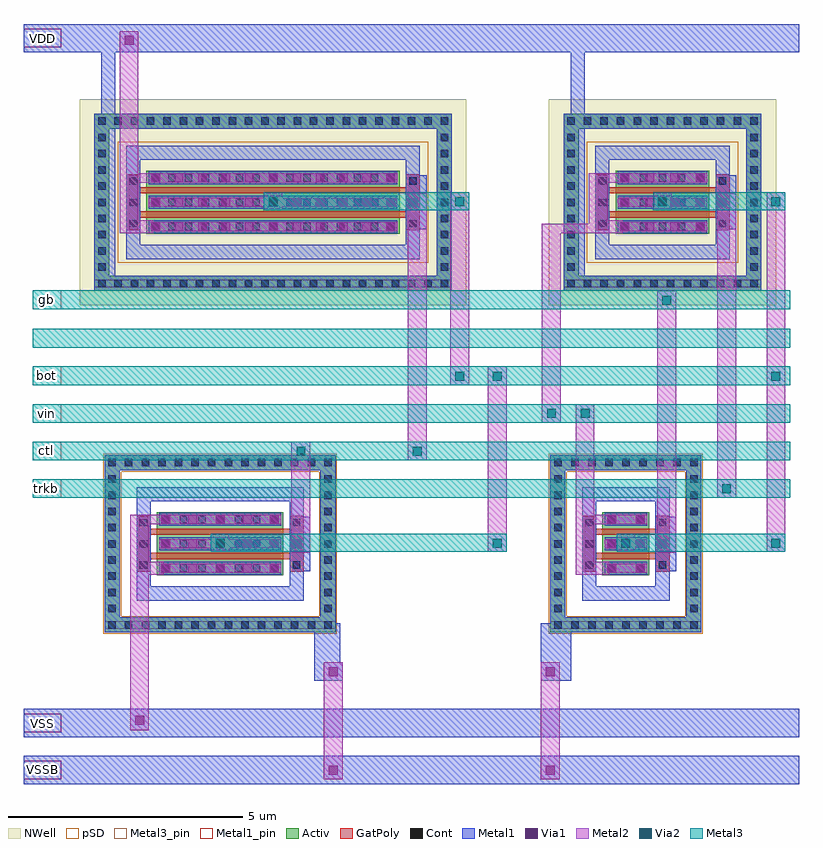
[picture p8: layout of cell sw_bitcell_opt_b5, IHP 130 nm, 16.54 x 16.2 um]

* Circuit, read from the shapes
.subckt sw_bitcell_opt_b5 VDD VSS VSSB bot ctl gb trkb vin
XM1 bot ctl VSS VSSB sg13_lv_nmos w=2.7u l=0.13u m=2
XM2 bot gb vin VSSB sg13_lv_nmos w=1u l=0.13u m=2
XM3 bot ctl VDD VDD sg13_lv_pmos w=5.4u l=0.13u m=2
XM4 bot trkb vin VDD sg13_lv_pmos w=2u l=0.13u m=2
.ends

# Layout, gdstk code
import gdstk
lib = gdstk.Library(unit=1e-6, precision=1e-09)
def R(c, l, rs):  # rectangles x0, y0, x1, y1
    for r in rs: c.add(gdstk.rectangle(r[:2], r[2:], *l))
def A(c, l, x, y, w, h, nx, ny, dx, dy):  # array of equal rectangles
    R(c, l, [(x+i*dx, y+j*dy, x+i*dx+w, y+j*dy+h) for i in range(nx) for j in range(ny)])
def P(c, l, *ps):  # polygons
    for p in ps: c.add(gdstk.Polygon(p, *l))
Activ = (1, 0)
GatPoly = (5, 0)
Cont = (6, 0)
Metal1 = (8, 0)
Metal1_pin = (8, 2)
Metal2 = (10, 0)
pSD = (14, 0)
Via1 = (19, 0)
Via2 = (29, 0)
Metal3 = (30, 0)
Metal3_pin = (30, 2)
NWell = (31, 0)

rfnmos_11 = lib.new_cell('rfnmos$11')
R(rfnmos_11, Activ, [(1.14,1.245,3.84,2.595)])
P(rfnmos_11, Activ, [(0.03,0.03),(0.03,3.49),(0.35,3.49),(0.35,0.35),(4.63,0.35),(4.63,3.49),(0.03,3.49),(0.03,3.81),(4.95,3.81),(4.95,0.03)])
R(rfnmos_11, GatPoly, [(0.71,1.32,1.01,2.52), (3.97,1.32,4.27,2.52), (1.01,1.595,3.97,1.725), (1.01,2.115,3.97,2.245)])
A(rfnmos_11, Cont, 0.46, 0.11, 0.16, 0.16, 4, 2, 0.355, 3.46)
A(rfnmos_11, Cont, 1.875, 0.11, 0.16, 0.16, 4, 2, 0.355, 3.46)
A(rfnmos_11, Cont, 3.29, 0.11, 0.16, 0.16, 5, 2, 0.355, 3.46)
A(rfnmos_11, Cont, 0.11, 0.46, 0.16, 0.16, 1, 9, 0, 0.345)
A(rfnmos_11, Cont, 4.71, 0.46, 0.16, 0.16, 1, 9, 0, 0.345)
A(rfnmos_11, Cont, 1.24, 1.32, 0.16, 0.16, 7, 3, 0.39, 0.52)
A(rfnmos_11, Cont, 0.78, 1.39, 0.16, 0.16, 1, 3, 0, 0.45)
A(rfnmos_11, Cont, 4.04, 1.39, 0.16, 0.16, 1, 3, 0, 0.45)
R(rfnmos_11, Cont, [(0.11,0.11,0.27,0.27), (0.11,3.57,0.27,3.73)])
A(rfnmos_11, Metal1, 1.19, 1.26, 2.6, 0.28, 1, 3, 0, 0.52)
R(rfnmos_11, Metal1, [(0.03,0.03,4.95,0.35), (0.03,0.35,0.35,3.49), (4.63,0.35,4.95,3.49), (0.76,1.34,0.96,2.5), (4.02,1.34,4.22,2.5), (0.03,3.49,4.95,3.81)])
P(rfnmos_11, Metal1, [(0.71,0.71),(0.71,2.83),(1.01,2.83),(1.01,1.01),(3.97,1.01),(3.97,2.83),(0.71,2.83),(0.71,3.13),(4.27,3.13),(4.27,0.71)])
R(rfnmos_11, Metal1_pin, [(0.03,0.11,4.95,0.27), (0.03,0.11,4.95,0.27), (1.19,1.26,3.79,1.54), (1.19,1.26,3.79,1.54), (0.76,1.34,0.96,2.5), (0.76,1.34,0.96,2.5), (1.19,1.78,3.79,2.06), (1.19,1.78,3.79,2.06)])
A(rfnmos_11, Metal2, 1.19, 1.3, 2.6, 0.2, 1, 3, 0, 0.52)
P(rfnmos_11, pSD, [(0,0),(0,3.46),(0.38,3.46),(0.38,0.38),(4.6,0.38),(4.6,3.46),(0,3.46),(0,3.84),(4.98,3.84),(4.98,0)])
A(rfnmos_11, Via1, 1.24, 1.305, 0.19, 0.19, 1, 3, 0, 0.52)
A(rfnmos_11, Via1, 1.815, 1.305, 0.19, 0.19, 1, 3, 0, 0.52)
A(rfnmos_11, Via1, 2.395, 1.305, 0.19, 0.19, 1, 3, 0, 0.52)
A(rfnmos_11, Via1, 2.97, 1.305, 0.19, 0.19, 1, 3, 0, 0.52)
A(rfnmos_11, Via1, 3.55, 1.305, 0.19, 0.19, 1, 3, 0, 0.52)
rfnmos_11.add(gdstk.Label('S', (2.49,1.42), layer=63, texttype=0))
rfnmos_11.add(gdstk.Label('D', (2.49,1.94), layer=63, texttype=0))
rfnmos_11.add(gdstk.Label('G', (0.86,1.92), layer=63, texttype=0))
rfnmos_11.add(gdstk.Label('TIE', (2.49,0.19), layer=63, texttype=0))
rfnmos_11.add(gdstk.Label('rfnmos', (2.49,3.65), layer=63, texttype=0))

rfpmos_10 = lib.new_cell('rfpmos$10')
R(rfpmos_10, Activ, [(1.42,1.525,6.82,2.875)])
P(rfpmos_10, Activ, [(0.31,0.31),(0.31,3.77),(0.63,3.77),(0.63,0.63),(7.61,0.63),(7.61,3.77),(0.31,3.77),(0.31,4.09),(7.93,4.09),(7.93,0.31)])
R(rfpmos_10, GatPoly, [(0.99,1.6,1.29,2.8), (6.95,1.6,7.25,2.8), (1.29,1.875,6.95,2.005), (1.29,2.395,6.95,2.525)])
A(rfpmos_10, Cont, 6.99, 0.39, 0.16, 0.16, 3, 2, 0.35, 3.46)
A(rfpmos_10, Cont, 0.39, 0.74, 0.16, 0.16, 1, 9, 0, 0.345)
A(rfpmos_10, Cont, 7.69, 0.74, 0.16, 0.16, 1, 9, 0, 0.345)
A(rfpmos_10, Cont, 1.52, 1.6, 0.16, 0.16, 15, 3, 0.36, 0.52)
A(rfpmos_10, Cont, 1.06, 1.67, 0.16, 0.16, 1, 3, 0, 0.45)
A(rfpmos_10, Cont, 7.02, 1.67, 0.16, 0.16, 1, 3, 0, 0.45)
R(rfpmos_10, Cont, [(0.39,0.39,0.55,0.55), (0.735,0.39,0.895,0.55), (1.085,0.39,1.245,0.55), (1.43,0.39,1.59,0.55), (1.78,0.39,1.94,0.55), (2.125,0.39,2.285,0.55), (2.475,0.39,2.635,0.55), (2.82,0.39,2.98,0.55), (3.17,0.39,3.33,0.55), (3.515,0.39,3.675,0.55), (3.865,0.39,4.025,0.55), (4.21,0.39,4.37,0.55), (4.56,0.39,4.72,0.55), (4.905,0.39,5.065,0.55), (5.255,0.39,5.415,0.55), (5.6,0.39,5.76,0.55), (5.95,0.39,6.11,0.55), (6.295,0.39,6.455,0.55), (6.645,0.39,6.805,0.55), (0.39,3.85,0.55,4.01), (0.735,3.85,0.895,4.01), (1.085,3.85,1.245,4.01), (1.43,3.85,1.59,4.01), (1.78,3.85,1.94,4.01), (2.125,3.85,2.285,4.01), (2.475,3.85,2.635,4.01), (2.82,3.85,2.98,4.01), (3.17,3.85,3.33,4.01), (3.515,3.85,3.675,4.01), (3.865,3.85,4.025,4.01), (4.21,3.85,4.37,4.01), (4.56,3.85,4.72,4.01), (4.905,3.85,5.065,4.01), (5.255,3.85,5.415,4.01), (5.6,3.85,5.76,4.01), (5.95,3.85,6.11,4.01), (6.295,3.85,6.455,4.01), (6.645,3.85,6.805,4.01)])
A(rfpmos_10, Metal1, 1.47, 1.54, 5.3, 0.28, 1, 3, 0, 0.52)
R(rfpmos_10, Metal1, [(0.31,0.31,7.93,0.63), (0.31,0.63,0.63,3.77), (7.61,0.63,7.93,3.77), (1.04,1.62,1.24,2.78), (7,1.62,7.2,2.78), (0.31,3.77,7.93,4.09)])
P(rfpmos_10, Metal1, [(0.99,0.99),(0.99,3.11),(1.29,3.11),(1.29,1.29),(6.95,1.29),(6.95,3.11),(0.99,3.11),(0.99,3.41),(7.25,3.41),(7.25,0.99)])
R(rfpmos_10, Metal1_pin, [(0.31,0.39,7.93,0.55), (0.31,0.39,7.93,0.55), (1.47,1.54,6.77,1.82), (1.47,1.54,6.77,1.82), (1.04,1.62,1.24,2.78), (1.04,1.62,1.24,2.78), (1.47,2.06,6.77,2.34), (1.47,2.06,6.77,2.34)])
A(rfpmos_10, Metal2, 1.47, 1.58, 5.3, 0.2, 1, 3, 0, 0.52)
R(rfpmos_10, pSD, [(0.81,0.91,7.43,3.49)])
A(rfpmos_10, Via1, 1.52, 1.585, 0.19, 0.19, 5, 3, 0.5, 0.52)
A(rfpmos_10, Via1, 4.025, 1.585, 0.19, 0.19, 5, 3, 0.5, 0.52)
A(rfpmos_10, Via1, 6.53, 1.585, 0.19, 0.19, 1, 3, 0, 0.52)
R(rfpmos_10, NWell, [(0,0,8.24,4.4)])
rfpmos_10.add(gdstk.Label('S', (4.12,1.7), layer=63, texttype=0))
rfpmos_10.add(gdstk.Label('D', (4.12,2.22), layer=63, texttype=0))
rfpmos_10.add(gdstk.Label('G', (1.14,2.2), layer=63, texttype=0))
rfpmos_10.add(gdstk.Label('TIE', (4.12,0.47), layer=63, texttype=0))
rfpmos_10.add(gdstk.Label('rfpmos', (4.12,3.93), layer=63, texttype=0))

rfnmos_1_7 = lib.new_cell('rfnmos$1$7')
R(rfnmos_1_7, Activ, [(1.14,1.245,2.14,2.595)])
P(rfnmos_1_7, Activ, [(0.03,0.03),(0.03,3.49),(0.35,3.49),(0.35,0.35),(2.93,0.35),(2.93,3.49),(0.03,3.49),(0.03,3.81),(3.25,3.81),(3.25,0.03)])
R(rfnmos_1_7, GatPoly, [(0.71,1.32,1.01,2.52), (2.27,1.32,2.57,2.52), (1.01,1.595,2.27,1.725), (1.01,2.115,2.27,2.245)])
A(rfnmos_1_7, Cont, 0.11, 0.46, 0.16, 0.16, 1, 9, 0, 0.345)
A(rfnmos_1_7, Cont, 3.01, 0.46, 0.16, 0.16, 1, 9, 0, 0.345)
A(rfnmos_1_7, Cont, 1.24, 1.32, 0.16, 0.16, 1, 3, 0, 0.52)
A(rfnmos_1_7, Cont, 1.88, 1.32, 0.16, 0.16, 1, 3, 0, 0.52)
A(rfnmos_1_7, Cont, 0.78, 1.39, 0.16, 0.16, 1, 3, 0, 0.45)
A(rfnmos_1_7, Cont, 2.34, 1.39, 0.16, 0.16, 1, 3, 0, 0.45)
R(rfnmos_1_7, Cont, [(0.11,0.11,0.27,0.27), (0.47,0.11,0.63,0.27), (0.835,0.11,0.995,0.27), (1.195,0.11,1.355,0.27), (1.56,0.11,1.72,0.27), (1.92,0.11,2.08,0.27), (2.285,0.11,2.445,0.27), (2.645,0.11,2.805,0.27), (3.01,0.11,3.17,0.27), (0.11,3.57,0.27,3.73), (0.47,3.57,0.63,3.73), (0.835,3.57,0.995,3.73), (1.195,3.57,1.355,3.73), (1.56,3.57,1.72,3.73), (1.92,3.57,2.08,3.73), (2.285,3.57,2.445,3.73), (2.645,3.57,2.805,3.73), (3.01,3.57,3.17,3.73)])
A(rfnmos_1_7, Metal1, 1.19, 1.26, 0.9, 0.28, 1, 3, 0, 0.52)
R(rfnmos_1_7, Metal1, [(0.03,0.03,3.25,0.35), (0.03,0.35,0.35,3.49), (2.93,0.35,3.25,3.49), (0.76,1.34,0.96,2.5), (2.32,1.34,2.52,2.5), (0.03,3.49,3.25,3.81)])
P(rfnmos_1_7, Metal1, [(0.71,0.71),(0.71,2.83),(1.01,2.83),(1.01,1.01),(2.27,1.01),(2.27,2.83),(0.71,2.83),(0.71,3.13),(2.57,3.13),(2.57,0.71)])
R(rfnmos_1_7, Metal1_pin, [(0.03,0.11,3.25,0.27), (0.03,0.11,3.25,0.27), (1.19,1.26,2.09,1.54), (1.19,1.26,2.09,1.54), (0.76,1.34,0.96,2.5), (0.76,1.34,0.96,2.5), (1.19,1.78,2.09,2.06), (1.19,1.78,2.09,2.06)])
A(rfnmos_1_7, Metal2, 1.19, 1.3, 0.9, 0.2, 1, 3, 0, 0.52)
P(rfnmos_1_7, pSD, [(0,0),(0,3.46),(0.38,3.46),(0.38,0.38),(2.9,0.38),(2.9,3.46),(0,3.46),(0,3.84),(3.28,3.84),(3.28,0)])
A(rfnmos_1_7, Via1, 1.24, 1.305, 0.19, 0.19, 1, 3, 0, 0.52)
A(rfnmos_1_7, Via1, 1.85, 1.305, 0.19, 0.19, 1, 3, 0, 0.52)
rfnmos_1_7.add(gdstk.Label('S', (1.64,1.42), layer=63, texttype=0))
rfnmos_1_7.add(gdstk.Label('D', (1.64,1.94), layer=63, texttype=0))
rfnmos_1_7.add(gdstk.Label('G', (0.86,1.92), layer=63, texttype=0))
rfnmos_1_7.add(gdstk.Label('TIE', (1.64,0.19), layer=63, texttype=0))
rfnmos_1_7.add(gdstk.Label('rfnmos', (1.64,3.65), layer=63, texttype=0))

rfpmos_1_7 = lib.new_cell('rfpmos$1$7')
R(rfpmos_1_7, Activ, [(1.42,1.525,3.42,2.875)])
P(rfpmos_1_7, Activ, [(0.31,0.31),(0.31,3.77),(0.63,3.77),(0.63,0.63),(4.21,0.63),(4.21,3.77),(0.31,3.77),(0.31,4.09),(4.53,4.09),(4.53,0.31)])
R(rfpmos_1_7, GatPoly, [(0.99,1.6,1.29,2.8), (3.55,1.6,3.85,2.8), (1.29,1.875,3.55,2.005), (1.29,2.395,3.55,2.525)])
A(rfpmos_1_7, Cont, 0.74, 0.39, 0.16, 0.16, 11, 2, 0.355, 3.46)
A(rfpmos_1_7, Cont, 0.39, 0.74, 0.16, 0.16, 1, 9, 0, 0.345)
A(rfpmos_1_7, Cont, 4.29, 0.74, 0.16, 0.16, 1, 9, 0, 0.345)
A(rfpmos_1_7, Cont, 1.52, 1.6, 0.16, 0.16, 5, 3, 0.41, 0.52)
A(rfpmos_1_7, Cont, 1.06, 1.67, 0.16, 0.16, 1, 3, 0, 0.45)
A(rfpmos_1_7, Cont, 3.62, 1.67, 0.16, 0.16, 1, 3, 0, 0.45)
R(rfpmos_1_7, Cont, [(0.39,0.39,0.55,0.55), (0.39,3.85,0.55,4.01)])
A(rfpmos_1_7, Metal1, 1.47, 1.54, 1.9, 0.28, 1, 3, 0, 0.52)
R(rfpmos_1_7, Metal1, [(0.31,0.31,4.53,0.63), (0.31,0.63,0.63,3.77), (4.21,0.63,4.53,3.77), (1.04,1.62,1.24,2.78), (3.6,1.62,3.8,2.78), (0.31,3.77,4.53,4.09)])
P(rfpmos_1_7, Metal1, [(0.99,0.99),(0.99,3.11),(1.29,3.11),(1.29,1.29),(3.55,1.29),(3.55,3.11),(0.99,3.11),(0.99,3.41),(3.85,3.41),(3.85,0.99)])
R(rfpmos_1_7, Metal1_pin, [(0.31,0.39,4.53,0.55), (0.31,0.39,4.53,0.55), (1.47,1.54,3.37,1.82), (1.47,1.54,3.37,1.82), (1.04,1.62,1.24,2.78), (1.04,1.62,1.24,2.78), (1.47,2.06,3.37,2.34), (1.47,2.06,3.37,2.34)])
A(rfpmos_1_7, Metal2, 1.47, 1.58, 1.9, 0.2, 1, 3, 0, 0.52)
R(rfpmos_1_7, pSD, [(0.81,0.91,4.03,3.49)])
A(rfpmos_1_7, Via1, 1.52, 1.585, 0.19, 0.19, 3, 3, 0.535, 0.52)
A(rfpmos_1_7, Via1, 3.13, 1.585, 0.19, 0.19, 1, 3, 0, 0.52)
R(rfpmos_1_7, NWell, [(0,0,4.84,4.4)])
rfpmos_1_7.add(gdstk.Label('S', (2.42,1.7), layer=63, texttype=0))
rfpmos_1_7.add(gdstk.Label('D', (2.42,2.22), layer=63, texttype=0))
rfpmos_1_7.add(gdstk.Label('G', (1.14,2.2), layer=63, texttype=0))
rfpmos_1_7.add(gdstk.Label('TIE', (2.42,0.47), layer=63, texttype=0))
rfpmos_1_7.add(gdstk.Label('rfpmos', (2.42,3.93), layer=63, texttype=0))

sw_bitcell_opt_b5 = lib.new_cell('sw_bitcell_opt_b5')
R(sw_bitcell_opt_b5, Metal1, [(-1.2,-3.2,15.34,-2.6), (5.2,-3.1,5.6,-2.7), (9.83,-3.1,10.23,-2.7), (-1.2,-2.2,15.34,-1.6), (1.07,-2.05,1.47,-1.65), (5,-1,5.55,0.23), (5.2,-1,5.6,-0.6), (9.83,-1,10.23,-0.6), (9.83,-1,10.48,0.23), (4.51,1.34,4.91,2.5), (12.31,1.34,12.71,2.5), (0.46,7.44,0.76,12.4), (10.46,7.44,10.76,12.4), (6.99,8.62,7.39,9.78), (13.59,8.62,13.99,9.78), (-1.2,12.4,15.34,13), (0.85,12.45,1.25,12.85)])
R(sw_bitcell_opt_b5, Metal1_pin, [(-1.2,-3.1,-0.4,-2.7), (-1.2,-2.1,-0.4,-1.7), (-1.2,12.5,-0.4,12.9)])
R(sw_bitcell_opt_b5, Metal2, [(5.2,-3.1,5.6,-2.7), (9.83,-3.1,10.23,-2.7), (5.2,-2.9,5.6,-0.8), (9.83,-2.9,10.23,-0.8), (1.07,-2.05,1.47,-1.65), (1.07,-1.9,1.47,1.46), (5.2,-1,5.6,-0.6), (9.83,-1,10.23,-0.6), (1.07,1.26,1.79,1.54), (1.07,1.26,1.47,2.54), (10.57,1.26,11.29,1.54), (10.57,1.26,10.97,2.54), (4.51,1.73,4.91,2.11), (12.31,1.73,12.71,2.11), (2.79,1.75,3.19,2.13), (8.7,1.75,9.1,2.13), (11.44,1.75,11.84,2.13), (14.64,1.75,15.04,2.13), (4.51,1.92,4.91,3.9), (12.31,1.92,12.71,7.12), (8.7,1.94,9.1,5.5), (14.64,1.94,15.04,5.5), (1.07,2.34,1.79,2.54), (10.57,2.34,11.29,2.54), (10.57,2.4,10.97,4.9), (13.59,2.9,13.99,3.3), (13.59,3.1,13.99,9.2), (4.51,3.7,4.91,4.1), (6.99,3.7,7.39,4.1), (6.99,3.9,7.39,9.2), (9.85,4.5,10.25,4.9), (9.85,4.5,10.25,8.74), (10.57,4.5,10.97,4.9), (7.9,5.3,8.3,5.7), (8.7,5.3,9.1,5.7), (14.64,5.3,15.04,5.7), (14.64,5.3,15.04,5.7), (7.9,5.5,8.3,9.22), (14.64,5.5,15.04,9.22), (12.31,6.93,12.71,7.31), (0.85,8.54,1.57,8.82), (0.85,8.54,1.25,9.82), (9.85,8.54,11.25,8.74), (10.85,8.54,11.57,8.82), (10.85,8.54,11.25,9.82), (6.99,9.01,7.39,9.39), (13.59,9.01,13.99,9.39), (3.92,9.03,4.32,9.41), (7.9,9.03,8.3,9.41), (12.22,9.03,12.62,9.41), (14.64,9.03,15.04,9.41), (0.85,9.62,1.57,9.82), (0.85,9.62,1.25,12.7), (10.85,9.62,11.57,9.82), (0.85,12.45,1.25,12.85)])
R(sw_bitcell_opt_b5, Via1, [(5.31,-3,5.5,-2.81), (9.93,-3,10.12,-2.81), (1.18,-1.94,1.37,-1.75), (5.31,-0.9,5.5,-0.71), (9.93,-0.9,10.12,-0.71), (4.53,1.82,4.72,2.01), (12.32,1.82,12.51,2.01), (7,9.1,7.19,9.29), (13.6,9.1,13.79,9.29), (0.96,12.56,1.15,12.75)])
R(sw_bitcell_opt_b5, Via2, [(2.9,1.84,3.09,2.03), (8.8,1.84,8.99,2.03), (11.54,1.84,11.73,2.03), (14.74,1.84,14.93,2.03), (13.69,3,13.88,3.19), (4.62,3.8,4.81,3.99), (7.1,3.8,7.29,3.99), (9.96,4.61,10.15,4.8), (10.68,4.61,10.87,4.8), (8,5.4,8.19,5.59), (8.8,5.4,8.99,5.59), (14.74,5.4,14.93,5.59), (14.74,5.4,14.93,5.59), (12.42,7.02,12.61,7.21), (4.03,9.12,4.22,9.31), (8,9.12,8.19,9.31), (12.32,9.12,12.51,9.31), (14.74,9.12,14.93,9.31)])
A(sw_bitcell_opt_b5, Metal3, -1, 2.9, 16.14, 0.4, 1, 5, 0, 0.8)
R(sw_bitcell_opt_b5, Metal3, [(2.79,1.75,9.1,2.13), (2.79,1.75,3.19,2.13), (8.7,1.75,9.1,2.13), (11.44,1.75,11.84,2.13), (11.44,1.75,15.04,2.13), (14.64,1.75,15.04,2.13), (13.59,2.9,13.99,3.3), (4.51,3.7,4.91,4.1), (6.99,3.7,7.39,4.1), (9.85,4.5,10.25,4.9), (10.57,4.5,10.97,4.9), (7.9,5.3,8.3,5.7), (8.7,5.3,9.1,5.7), (14.64,5.3,15.04,5.7), (14.64,5.3,15.04,5.7), (-1,6.92,15.14,7.32), (12.31,6.93,12.71,7.31), (3.92,9.03,4.32,9.41), (3.92,9.03,8.3,9.41), (7.9,9.03,8.3,9.41), (12.22,9.03,12.62,9.41), (12.22,9.03,15.04,9.41), (14.64,9.03,15.04,9.41)])
A(sw_bitcell_opt_b5, Metal3_pin, -1, 2.9, 0.6, 0.4, 1, 4, 0, 0.8)
R(sw_bitcell_opt_b5, Metal3_pin, [(-1,6.92,-0.4,7.32)])
sw_bitcell_opt_b5.add(gdstk.Reference(rfnmos_11, (0.5,0)))
sw_bitcell_opt_b5.add(gdstk.Reference(rfpmos_10, (0,7)))
sw_bitcell_opt_b5.add(gdstk.Reference(rfnmos_1_7, (10,0)))
sw_bitcell_opt_b5.add(gdstk.Reference(rfpmos_1_7, (10,7)))
sw_bitcell_opt_b5.add(gdstk.Label('VSS', (-0.8,-1.9), layer=8, texttype=25))
sw_bitcell_opt_b5.add(gdstk.Label('VSSB', (-0.8,-2.9), layer=8, texttype=25))
sw_bitcell_opt_b5.add(gdstk.Label('VDD', (-0.8,12.7), layer=8, texttype=25))
sw_bitcell_opt_b5.add(gdstk.Label('bot', (-0.7,5.5), layer=30, texttype=25))
sw_bitcell_opt_b5.add(gdstk.Label('vin', (-0.7,4.7), layer=30, texttype=25))
sw_bitcell_opt_b5.add(gdstk.Label('ctl', (-0.7,3.9), layer=30, texttype=25))
sw_bitcell_opt_b5.add(gdstk.Label('trkb', (-0.7,3.1), layer=30, texttype=25))
sw_bitcell_opt_b5.add(gdstk.Label('gb', (-0.7,7.12), layer=30, texttype=25))

lib.write_gds('sw_bitcell_opt_b5.gds')
